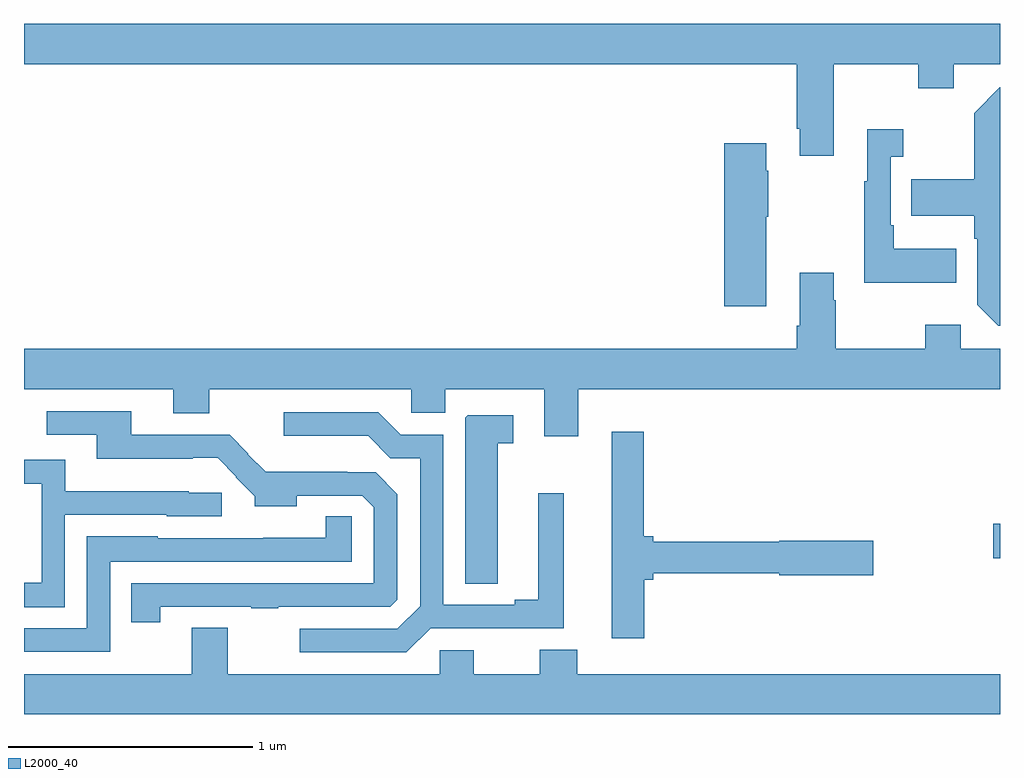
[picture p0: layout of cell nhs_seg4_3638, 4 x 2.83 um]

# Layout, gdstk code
import gdstk
lib = gdstk.Library(unit=1e-6, precision=1e-09)
def R(c, l, rs):  # rectangles x0, y0, x1, y1
    for r in rs: c.add(gdstk.rectangle(r[:2], r[2:], *l))
def P(c, l, *ps):  # polygons
    for p in ps: c.add(gdstk.Polygon(p, *l))
L2000_40 = (2000, 40)

nhs_seg4_3638 = lib.new_cell('nhs_seg4_3638')
R(nhs_seg4_3638, L2000_40, [(306.972,776.146,307,776.288)])
P(nhs_seg4_3638, L2000_40, [(306.319,778.172),(306.664,778.172),(306.664,778.073),(306.811,778.073),(306.811,778.172),(307,778.172),(307,778.336),(303,778.336),(303,778.172),(306.167,778.172),(306.167,777.907),(306.179,777.907),(306.179,777.795),(306.319,777.795)],
  [(307,778.077),(306.999,778.077),(306.894,777.971),(306.894,777.699),(306.637,777.699),(306.637,777.551),(306.894,777.551),(306.894,777.455),(306.906,777.455),(306.906,777.186),(306.993,777.099),(307,777.099)],
  [(306.821,777.415),(306.565,777.415),(306.565,777.511),(306.552,777.511),(306.552,777.791),(306.604,777.791),(306.604,777.904),(306.455,777.904),(306.455,777.691),(306.444,777.691),(306.444,777.275),(306.821,777.275)],
  [(306.043,777.545),(306.051,777.545),(306.051,777.734),(306.043,777.734),(306.043,777.847),(305.87,777.847),(305.87,777.18),(306.043,777.18)],
  [(305.272,776.84),(307,776.84),(307,777.004),(306.84,777.004),(306.84,777.103),(306.694,777.103),(306.694,777.004),(306.327,777.004),(306.327,777.203),(306.319,777.203),(306.319,777.316),(306.179,777.316),(306.179,777.1),(306.167,777.1),(306.167,777.004),(303,777.004),(303,776.84),(303.611,776.84),(303.611,776.741),(303.759,776.741),(303.759,776.84),(304.587,776.84),(304.587,776.742),(304.726,776.742),(304.726,776.84),(305.132,776.84),(305.132,776.646),(305.272,776.646)],
  [(303.558,775.947),(303.931,775.947),(303.931,775.942),(304.043,775.942),(304.043,775.947),(304.5,775.947),(304.53,775.977),(304.53,776.409),(304.441,776.498),(304.325,776.498),(304.325,776.5),(303.991,776.5),(303.917,776.573),(303.919,776.575),(303.843,776.652),(303.439,776.652),(303.439,776.748),(303.093,776.748),(303.093,776.652),(303.299,776.652),(303.299,776.555),(303.692,776.555),(303.692,776.558),(303.794,776.558),(303.87,776.481),(303.867,776.478),(303.946,776.4),(303.946,776.36),(304.117,776.36),(304.117,776.403),(304.386,776.403),(304.434,776.355),(304.434,776.043),(303.439,776.043),(303.439,775.884),(303.558,775.884)],
  [(304.666,775.86),(305.212,775.86),(305.212,776.413),(305.108,776.413),(305.108,775.976),(305.012,775.976),(305.012,775.956),(304.719,775.956),(304.719,776.652),(304.545,776.652),(304.452,776.745),(304.065,776.745),(304.065,776.648),(304.411,776.648),(304.502,776.557),(304.623,776.557),(304.623,775.95),(304.53,775.857),(304.131,775.857),(304.131,775.761),(304.567,775.761)],
  [(304.942,776.617),(305.005,776.617),(305.005,776.733),(304.818,776.733),(304.808,776.723),(304.808,776.041),(304.942,776.041)],
  [(305.543,776.059),(305.579,776.059),(305.579,776.085),(306.096,776.085),(306.096,776.077),(306.481,776.077),(306.481,776.219),(306.096,776.219),(306.096,776.213),(305.579,776.213),(305.579,776.237),(305.54,776.237),(305.54,776.665),(305.408,776.665),(305.408,775.818),(305.543,775.818)],
  [(303.168,776.325),(303.585,776.325),(303.585,776.319),(303.81,776.319),(303.81,776.415),(303.675,776.415),(303.675,776.422),(303.169,776.422),(303.169,776.551),(303,776.551),(303,776.451),(303.072,776.451),(303.072,776.046),(303,776.046),(303,775.945),(303.168,775.945)],
  [(303.354,776.133),(304.344,776.133),(304.344,776.318),(304.236,776.318),(304.236,776.23),(303.981,776.23),(303.981,776.229),(303.549,776.229),(303.549,776.236),(303.258,776.236),(303.258,775.86),(303,775.86),(303,775.764),(303.354,775.764)],
  [(307,775.672),(305.267,775.672),(305.267,775.771),(305.114,775.771),(305.114,775.672),(304.843,775.672),(304.843,775.77),(304.704,775.77),(304.704,775.672),(303.835,775.672),(303.835,775.862),(303.688,775.862),(303.688,775.672),(303,775.672),(303,775.508),(307,775.508)])

lib.write_gds('nhs_seg4_3638.gds')
